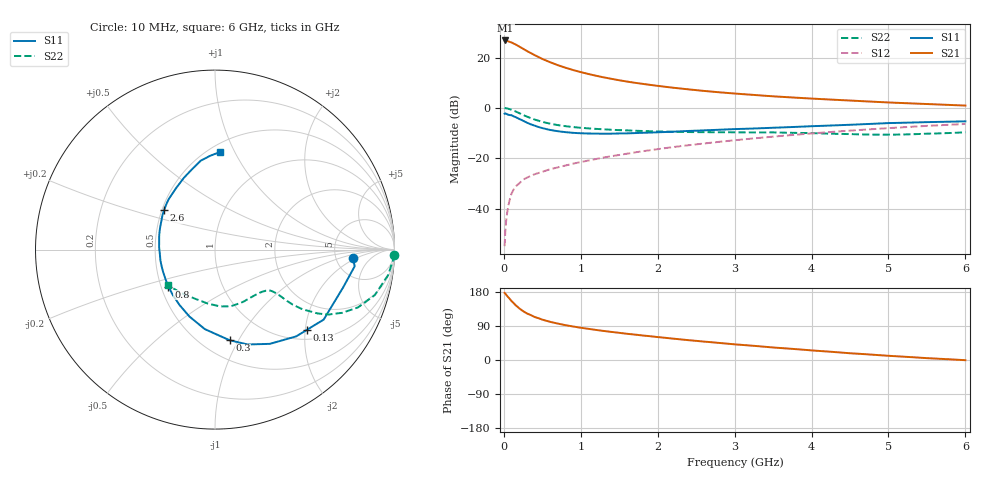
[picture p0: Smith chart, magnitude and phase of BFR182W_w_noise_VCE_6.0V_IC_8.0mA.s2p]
! Infineon Technologies  Discrete & RF Semiconductors
! BFR182W
! VCE =  6.0 V,  IC =  8.0 mA
! Common Emitter S-Parameters:  Jan 2017
# GHz  S  MA  R  50
!  f  S11  S21  S12  S22
! GHz  MAG  ANG  MAG  ANG  MAG  ANG  MAG  ANG
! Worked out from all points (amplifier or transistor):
!   77 points, 10 MHz to 6 GHz, reference 50 ohm
!   highest |S21| = 26.8 dB at 20 MHz (marker M1)
!   |S21| within 3 dB of that: start of sweep to 233.6 MHz
!   unconditionally stable (mu >= 1): 1.18 GHz to 2.698 GHz
!   at 130 MHz: K = 0.24, MSG = 28.9 dB, |S12| = -32.3 dB
!   at 2.2 GHz: K = 1.03, MAG = 10.7 dB, |S12| = -15.5 dB
!   at 6 GHz: K = 0.85, MSG = 3.7 dB, |S12| = -6.3 dB
!   lowest NFmin = 1.00 dB at 450 MHz
!   S11 on the Smith chart (normalised r, x): 10 MHz: 7.33, -1.70; 130 MHz: 1.23, -2.05; 300 MHz: 0.67, -0.92; 800 MHz: 0.55, -0.25; 2.6 GHz: 0.51, +0.26; 6 GHz: 0.57, +0.88
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0.01  0.771 -3.5  21.81 177.1  0.0018 78.3  0.9971 -1.6
0.02  0.7836 -6.8  21.98 174.8  0.0038 92.1  0.9932 -3.5
0.05  0.7436 -16.7  21.33 167.3  0.0096 80.1  0.975 -8.4
0.1  0.7202 -32.8  20.08 155.6  0.0199 75.2  0.9259 -15.9
0.13  0.6803 -41.0  18.99 149.6  0.0244 70.8  0.885 -19.5
0.15  0.6621 -46.9  18.4 145.2  0.0274 68.6  0.8597 -22.0
0.2  0.6076 -59.8  16.66 136.4  0.0318 65.5  0.7917 -26.4
0.25  0.559 -71.0  15.05 128.9  0.0378 61.7  0.7301 -29.7
0.3  0.5118 -80.8  13.55 122.9  0.0413 60.4  0.6735 -31.9
0.4  0.4466 -97.3  11.23 113.5  0.0483 58.2  0.5899 -34.3
0.5  0.3989 -111.0  9.445 106.5  0.0539 57.9  0.5299 -35.3
0.6  0.3668 -122.5  8.139 100.8  0.0608 58.3  0.4885 -35.5
0.7  0.3462 -132.5  7.114 96.2  0.066 59.1  0.4581 -35.4
0.8  0.3314 -141.6  6.328 92.0  0.072 60.4  0.4358 -35.4
1.1  0.3115 -162.9  4.736 82.2  0.0906 62.4  0.394 -36.1
1.5  0.3121 176.9  3.56 71.7  0.1167 63.8  0.3637 -39.0
2.1  0.3334 155.1  2.64 58.5  0.1598 63.4  0.3394 -47.7
2.6  0.3597 141.9  2.187 48.6  0.197 61.7  0.3309 -57.3
3.1  0.3851 130.5  1.89 39.8  0.2367 58.9  0.3282 -67.0
4.1  0.4402 112.1  1.512 23.9  0.3209 51.8  0.3137 -87.3
5.1  0.5057 97.8  1.27 9.9  0.4068 42.9  0.2963 -116.8
6  0.5441 87.1  1.118 -0.5  0.4823 33.8  0.3289 -143.4
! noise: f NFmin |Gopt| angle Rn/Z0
0.45  1  0.12  39  0.15
0.9  1.08  0.12  69  0.15
1.9  1.59  0.18  -174  0.13
2.4  1.85  0.18  -169  0.19
